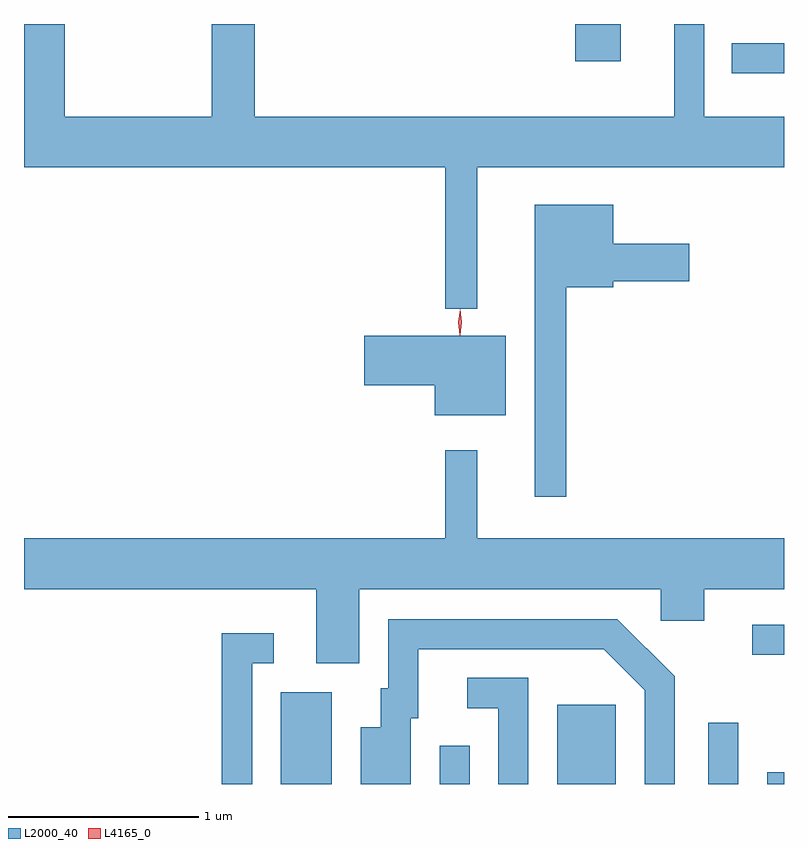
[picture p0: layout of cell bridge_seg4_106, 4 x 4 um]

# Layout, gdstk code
import gdstk
lib = gdstk.Library(unit=1e-6, precision=1e-09)
def R(c, l, rs):  # rectangles x0, y0, x1, y1
    for r in rs: c.add(gdstk.rectangle(r[:2], r[2:], *l))
def P(c, l, *ps):  # polygons
    for p in ps: c.add(gdstk.Polygon(p, *l))
L2000_40 = (2000, 40)
L4165_0 = (4165, 0)

bridge_seg4_106 = lib.new_cell('bridge_seg4_106')
R(bridge_seg4_106, L2000_40, [(797.236,1369.191,797.504,1369.674), (798.071,1369.191,798.229,1369.393), (798.691,1369.191,798.999,1369.609), (799.486,1369.191,799.644,1369.513), (799.796,1369.191,799.884,1369.254), (799.718,1369.871,799.884,1370.029), (799.608,1372.931,799.884,1373.089), (798.786,1372.996,799.024,1373.191)])
P(bridge_seg4_106, L2000_40, [(798.269,1372.436),(799.884,1372.436),(799.884,1372.704),(799.464,1372.704),(799.464,1373.191),(799.306,1373.191),(799.306,1372.704),(797.099,1372.704),(797.099,1373.191),(796.871,1373.191),(796.871,1372.704),(796.099,1372.704),(796.099,1373.191),(795.884,1373.191),(795.884,1372.436),(798.101,1372.436),(798.101,1371.693),(798.269,1371.693)],
  [(798.739,1371.806),(798.984,1371.806),(798.984,1371.836),(799.384,1371.836),(799.384,1372.034),(798.984,1372.034),(798.984,1372.239),(798.571,1372.239),(798.571,1370.703),(798.739,1370.703)],
  [(798.419,1371.549),(797.676,1371.549),(797.676,1371.291),(798.046,1371.291),(798.046,1371.131),(798.419,1371.131)],
  [(797.649,1370.216),(799.236,1370.216),(799.236,1370.051),(799.464,1370.051),(799.464,1370.216),(799.884,1370.216),(799.884,1370.484),(798.269,1370.484),(798.269,1370.948),(798.101,1370.948),(798.101,1370.484),(795.884,1370.484),(795.884,1370.216),(797.421,1370.216),(797.421,1369.826),(797.649,1369.826)],
  [(797.919,1369.536),(797.959,1369.536),(797.959,1369.901),(798.934,1369.901),(799.151,1369.684),(799.151,1369.191),(799.309,1369.191),(799.309,1369.757),(799.007,1370.059),(797.801,1370.059),(797.801,1369.694),(797.761,1369.694),(797.761,1369.489),(797.656,1369.489),(797.656,1369.191),(797.919,1369.191)],
  [(797.084,1369.826),(797.198,1369.826),(797.198,1369.984),(796.926,1369.984),(796.926,1369.191),(797.084,1369.191)],
  [(798.539,1369.749),(798.218,1369.749),(798.218,1369.591),(798.381,1369.591),(798.381,1369.191),(798.539,1369.191)])
P(bridge_seg4_106, L4165_0, [(798.178,1371.554),(798.178,1371.554),(798.169,1371.622),(798.179,1371.69),(798.18,1371.69),(798.18,1371.69),(798.189,1371.622),(798.179,1371.554)],
  [(798.178,1371.56),(798.177,1371.561),(798.169,1371.624),(798.179,1371.686),(798.18,1371.687),(798.18,1371.686),(798.189,1371.623),(798.178,1371.561)])

lib.write_gds('bridge_seg4_106.gds')
